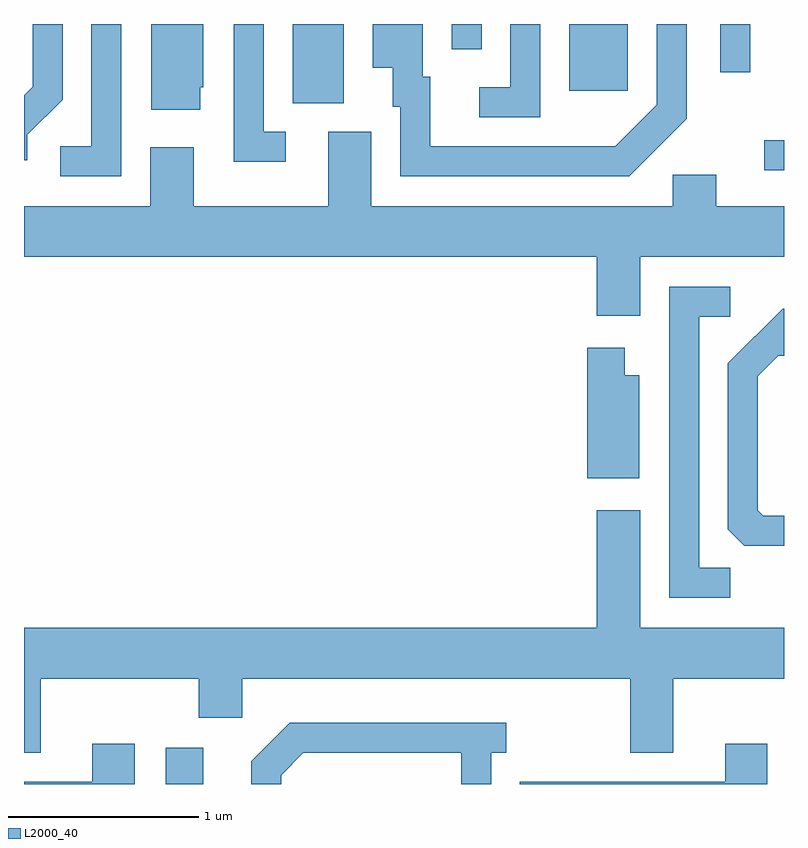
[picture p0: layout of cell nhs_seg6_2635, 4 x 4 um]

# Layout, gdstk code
import gdstk
lib = gdstk.Library(unit=1e-6, precision=1e-09)
def R(c, l, rs):  # rectangles x0, y0, x1, y1
    for r in rs: c.add(gdstk.rectangle(r[:2], r[2:], *l))
def P(c, l, *ps):  # polygons
    for p in ps: c.add(gdstk.Polygon(p, *l))
L2000_40 = (2000, 40)

nhs_seg6_2635 = lib.new_cell('nhs_seg6_2635')
R(nhs_seg6_2635, L2000_40, [(266.356,1536.162,266.554,1536.354), (269.508,1539.391,269.611,1539.549), (267.026,1539.746,267.294,1540.162), (268.481,1539.811,268.789,1540.162), (269.276,1539.908,269.434,1540.162), (267.861,1540.028,268.019,1540.162)])
P(nhs_seg6_2635, L2000_40, [(265.629,1539.579),(265.814,1539.764),(265.814,1540.162),(265.656,1540.162),(265.656,1539.832),(265.611,1539.787),(265.611,1539.446),(265.629,1539.446)],
  [(266.124,1540.162),(265.966,1540.162),(265.966,1539.519),(265.803,1539.519),(265.803,1539.361),(266.124,1539.361)],
  [(266.539,1539.83),(266.554,1539.83),(266.554,1540.162),(266.281,1540.162),(266.281,1539.711),(266.539,1539.711)],
  [(268.329,1540.162),(268.171,1540.162),(268.171,1539.829),(268.008,1539.829),(268.008,1539.671),(268.329,1539.671)],
  [(266.988,1539.594),(266.874,1539.594),(266.874,1540.162),(266.716,1540.162),(266.716,1539.436),(266.988,1539.436)],
  [(269.099,1539.664),(269.099,1540.162),(268.941,1540.162),(268.941,1539.737),(268.724,1539.519),(267.749,1539.519),(267.749,1539.884),(267.709,1539.884),(267.709,1540.162),(267.446,1540.162),(267.446,1539.931),(267.551,1539.931),(267.551,1539.726),(267.591,1539.726),(267.591,1539.361),(268.797,1539.361)],
  [(268.854,1538.936),(269.611,1538.936),(269.611,1539.204),(269.254,1539.204),(269.254,1539.369),(269.026,1539.369),(269.026,1539.204),(267.439,1539.204),(267.439,1539.594),(267.211,1539.594),(267.211,1539.204),(266.504,1539.204),(266.504,1539.514),(266.276,1539.514),(266.276,1539.204),(265.611,1539.204),(265.611,1538.936),(268.626,1538.936),(268.626,1538.626),(268.854,1538.626)],
  [(269.328,1537.299),(269.164,1537.299),(269.164,1538.621),(269.328,1538.621),(269.328,1538.779),(269.006,1538.779),(269.006,1537.141),(269.328,1537.141)],
  [(269.611,1537.574),(269.502,1537.574),(269.474,1537.602),(269.474,1538.309),(269.582,1538.416),(269.611,1538.416),(269.611,1538.664),(269.604,1538.664),(269.316,1538.377),(269.316,1537.502),(269.402,1537.416),(269.611,1537.416)],
  [(268.849,1538.314),(268.774,1538.314),(268.774,1538.459),(268.576,1538.459),(268.576,1537.771),(268.849,1537.771)],
  [(265.699,1536.716),(266.531,1536.716),(266.531,1536.511),(266.759,1536.511),(266.759,1536.716),(268.801,1536.716),(268.801,1536.326),(269.029,1536.326),(269.029,1536.716),(269.611,1536.716),(269.611,1536.984),(268.854,1536.984),(268.854,1537.604),(268.626,1537.604),(268.626,1536.984),(265.611,1536.984),(265.611,1536.326),(265.699,1536.326)],
  [(266.964,1536.209),(267.082,1536.326),(267.911,1536.326),(267.911,1536.162),(268.069,1536.162),(268.069,1536.326),(268.148,1536.326),(268.148,1536.484),(267.009,1536.484),(266.806,1536.282),(266.806,1536.162),(266.964,1536.162)],
  [(266.194,1536.374),(265.971,1536.374),(265.971,1536.174),(265.611,1536.174),(265.611,1536.162),(266.194,1536.162)],
  [(269.524,1536.374),(269.301,1536.374),(269.301,1536.174),(268.221,1536.174),(268.221,1536.162),(269.524,1536.162)])

lib.write_gds('nhs_seg6_2635.gds')
